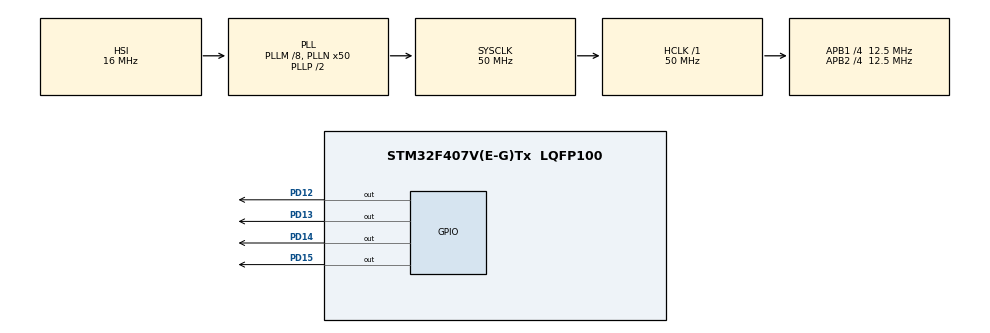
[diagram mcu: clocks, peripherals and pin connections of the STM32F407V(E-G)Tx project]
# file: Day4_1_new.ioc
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FREERTOS.INCLUDE_vTaskDelayUntil=1
FREERTOS.Tasks01=defaultTask,-3,128,StartDefaultTask,Default,NULL,Dynamic,NULL,NULL
FREERTOS.configUSE_NEWLIB_REENTRANT=1
Mcu.Family=STM32F4
Mcu.Name=STM32F407V(E-G)Tx
Mcu.Package=LQFP100
NVIC.PriorityGroup=NVIC_PRIORITYGROUP_4
NVIC.TIM1_UP_TIM10_IRQn=true\:15\:0\:false\:false\:true\:false\:false\:true\:true
NVIC.TimeBase=TIM1_UP_TIM10_IRQn
NVIC.TimeBaseIP=TIM1
PD12.Signal=GPIO_Output
PD13.Signal=GPIO_Output
PD14.Signal=GPIO_Output
PD15.Signal=GPIO_Output
ProjectManager.HeapSize=0x200
ProjectManager.StackSize=0x400
ProjectManager.TargetToolchain=STM32CubeIDE
RCC.48MHZClocksFreq_Value=14285714.285714285
RCC.AHBFreq_Value=50000000
RCC.APB1CLKDivider=RCC_HCLK_DIV4
RCC.APB1Freq_Value=12500000
RCC.APB1TimFreq_Value=25000000
RCC.APB2CLKDivider=RCC_HCLK_DIV4
RCC.APB2Freq_Value=12500000
RCC.APB2TimFreq_Value=25000000
RCC.CortexFreq_Value=50000000
RCC.HCLKFreq_Value=50000000
RCC.HSE_VALUE=8000000
RCC.HSI_VALUE=16000000
RCC.PLLM=8
RCC.PLLN=50
RCC.PLLQ=7
RCC.SYSCLKFreq_VALUE=50000000
RCC.SYSCLKSource=RCC_SYSCLKSOURCE_PLLCLK
RCC.VCOOutputFreq_Value=100000000
VP_FREERTOS_VS_CMSIS_V1.Mode=CMSIS_V1
VP_SYS_VS_tim1.Mode=TIM1
board=STM32F407G-DISC1

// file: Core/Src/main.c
/* USER CODE BEGIN Header */
/**
  ******************************************************************************
  * @file           : main.c
  * @brief          : Main program body
  ******************************************************************************
  * @attention
  *
  * Copyright (c) 2024 STMicroelectronics.
  * All rights reserved.
  *
  * This software is licensed under terms that can be found in the LICENSE file
  * in the root directory of this software component.
  * If no LICENSE file comes with this software, it is provided AS-IS.
  *
  ******************************************************************************
  */
/* USER CODE END Header */
#include "main.h"
#include "cmsis_os.h"

osThreadId defaultTaskHandle;

void SystemClock_Config(void);
static void MX_GPIO_Init(void);
void StartDefaultTask(void const * argument);

/* USER CODE BEGIN 0 */
void vLedTask1(void *pvParam){

	uint16_t pin = (uint16_t)pvParam;
	portTickType xLastWakeupTime = xTaskGetTickCount();
	while(1){
		HAL_GPIO_TogglePin(GPIOD,pin);
		vTaskDelayUntil(&xLastWakeupTime, 1000/portTICK_RATE_MS);
	}
	vTaskDelete(NULL);
}

void vLedTask2(void *pvParam){
	uint16_t pin = (uint16_t)pvParam;
	portTickType xLastWakeupTime = xTaskGetTickCount();
	while(1){
		HAL_GPIO_TogglePin(GPIOD, pin);
		vTaskDelayUntil(&xLastWakeupTime, 2000/portTICK_RATE_MS);
	}
	vTaskDelete(NULL);
}

void vLedTask3(void *pvParam){

	uint16_t pin = (uint16_t)pvParam;
	portTickType xLastWakeupTime = xTaskGetTickCount();
	while(1){
		HAL_GPIO_TogglePin(GPIOD,pin);
		vTaskDelayUntil(&xLastWakeupTime, 3000/portTICK_RATE_MS);
	}
	vTaskDelete(NULL);
}

void vLedTask4(void *pvParam){

	uint16_t pin = (uint16_t)pvParam;
	portTickType xLastWakeupTime = xTaskGetTickCount();
	while(1){
		HAL_GPIO_TogglePin(GPIOD,pin);
		vTaskDelayUntil(&xLastWakeupTime, 4000/portTICK_RATE_MS);
	}
	vTaskDelete(NULL);
}
/* USER CODE END 0 */

int main(void)
{

  /* USER CODE BEGIN 1 */
	BaseType_t xRet;
  /* USER CODE END 1 */

  /* MCU Configuration--------------------------------------------------------*/

  /* Reset of all peripherals, Initializes the Flash interface and the Systick. */
  HAL_Init();

  /* Configure the system clock */
  SystemClock_Config();

  /* Initialize all configured peripherals */
  MX_GPIO_Init();

  /* Create the thread(s) */
  /* definition and creation of defaultTask */
  osThreadDef(defaultTask, StartDefaultTask, osPriorityIdle, 0, 128);
  defaultTaskHandle = osThreadCreate(osThread(defaultTask), NULL);

  /* USER CODE BEGIN RTOS_THREADS */
  /* add threads, ... */
  xRet = xTaskCreate(vLedTask1, "Task 1", configMINIMAL_STACK_SIZE, (void*)GPIO_PIN_12, 1, NULL);
  if(xRet != pdTRUE)
	  Error_Handler();

  xRet = xTaskCreate(vLedTask2, "Task 2", configMINIMAL_STACK_SIZE, (void*)GPIO_PIN_13, 2, NULL);
  if(xRet != pdTRUE)
	  Error_Handler();

  xRet = xTaskCreate(vLedTask3, "Task 3", configMINIMAL_STACK_SIZE, (void*)GPIO_PIN_14, 3, NULL);
    if(xRet != pdTRUE)
  	  Error_Handler();

   xRet = xTaskCreate(vLedTask4, "Task 4", configMINIMAL_STACK_SIZE, (void*)GPIO_PIN_15, 4, NULL);
      if(xRet != pdTRUE)
    	  Error_Handler();
  /* USER CODE END RTOS_THREADS */

  /* Start scheduler */
  osKernelStart();

  /* We should never get here as control is now taken by the scheduler */

  /* Infinite loop */
  while (1)
  {

  }
}

void SystemClock_Config(void)
{
  RCC_OscInitTypeDef RCC_OscInitStruct = {0};
  RCC_ClkInitTypeDef RCC_ClkInitStruct = {0};

  /** Configure the main internal regulator output voltage
  */
  __HAL_RCC_PWR_CLK_ENABLE();
  __HAL_PWR_VOLTAGESCALING_CONFIG(PWR_REGULATOR_VOLTAGE_SCALE1);

  /** Initializes the RCC Oscillators according to the specified parameters
  * in the RCC_OscInitTypeDef structure.
  */
  RCC_OscInitStruct.OscillatorType = RCC_OSCILLATORTYPE_HSI;
  RCC_OscInitStruct.HSIState = RCC_HSI_ON;
  RCC_OscInitStruct.HSICalibrationValue = RCC_HSICALIBRATION_DEFAULT;
  RCC_OscInitStruct.PLL.PLLState = RCC_PLL_ON;
  RCC_OscInitStruct.PLL.PLLSource = RCC_PLLSOURCE_HSI;
  RCC_OscInitStruct.PLL.PLLM = 8;
  RCC_OscInitStruct.PLL.PLLN = 50;
  RCC_OscInitStruct.PLL.PLLP = RCC_PLLP_DIV2;
  RCC_OscInitStruct.PLL.PLLQ = 7;
  if (HAL_RCC_OscConfig(&RCC_OscInitStruct) != HAL_OK)
  {
    Error_Handler();
  }

  /** Initializes the CPU, AHB and APB buses clocks
  */
  RCC_ClkInitStruct.ClockType = RCC_CLOCKTYPE_HCLK|RCC_CLOCKTYPE_SYSCLK
                              |RCC_CLOCKTYPE_PCLK1|RCC_CLOCKTYPE_PCLK2;
  RCC_ClkInitStruct.SYSCLKSource = RCC_SYSCLKSOURCE_PLLCLK;
  RCC_ClkInitStruct.AHBCLKDivider = RCC_SYSCLK_DIV1;
  RCC_ClkInitStruct.APB1CLKDivider = RCC_HCLK_DIV4;
  RCC_ClkInitStruct.APB2CLKDivider = RCC_HCLK_DIV4;

  if (HAL_RCC_ClockConfig(&RCC_ClkInitStruct, FLASH_LATENCY_1) != HAL_OK)
  {
    Error_Handler();
  }
}

static void MX_GPIO_Init(void)
{
  GPIO_InitTypeDef GPIO_InitStruct = {0};

  /* GPIO Ports Clock Enable */
  __HAL_RCC_GPIOD_CLK_ENABLE();

  /*Configure GPIO pin Output Level */
  HAL_GPIO_WritePin(GPIOD, GPIO_PIN_12|GPIO_PIN_13|GPIO_PIN_14|GPIO_PIN_15, GPIO_PIN_RESET);

  /*Configure GPIO pins : PD12 PD13 PD14 PD15 */
  GPIO_InitStruct.Pin = GPIO_PIN_12|GPIO_PIN_13|GPIO_PIN_14|GPIO_PIN_15;
  GPIO_InitStruct.Mode = GPIO_MODE_OUTPUT_PP;
  GPIO_InitStruct.Pull = GPIO_NOPULL;
  GPIO_InitStruct.Speed = GPIO_SPEED_FREQ_LOW;
  HAL_GPIO_Init(GPIOD, &GPIO_InitStruct);

}

void StartDefaultTask(void const * argument)
{
  for(;;)
  {
    osDelay(1);
  }
}

void HAL_TIM_PeriodElapsedCallback(TIM_HandleTypeDef *htim)
{
  if (htim->Instance == TIM1) {
    HAL_IncTick();
  }
}

void Error_Handler(void)
{
  __disable_irq();
  while (1)
  {
  }
}
